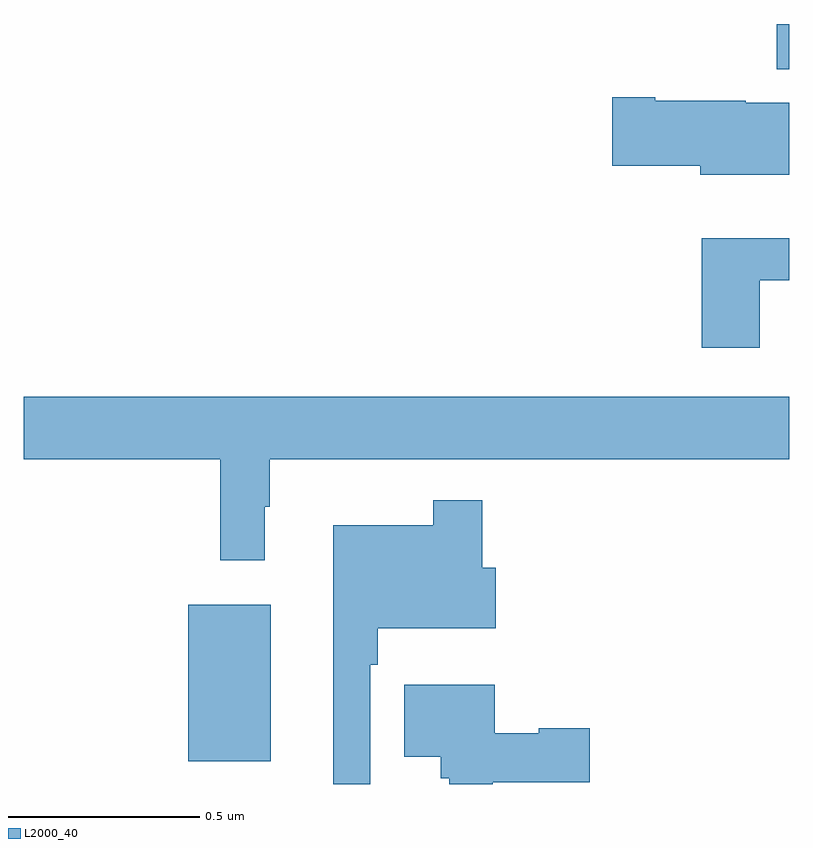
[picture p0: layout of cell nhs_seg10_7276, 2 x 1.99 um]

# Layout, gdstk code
import gdstk
lib = gdstk.Library(unit=1e-6, precision=1e-09)
def R(c, l, rs):  # rectangles x0, y0, x1, y1
    for r in rs: c.add(gdstk.rectangle(r[:2], r[2:], *l))
def P(c, l, *ps):  # polygons
    for p in ps: c.add(gdstk.Polygon(p, *l))
L2000_40 = (2000, 40)

nhs_seg10_7276 = lib.new_cell('nhs_seg10_7276')
R(nhs_seg10_7276, L2000_40, [(202.43,1267.559,202.645,1267.969), (203.968,1269.368,204,1269.486)])
P(nhs_seg10_7276, L2000_40, [(204,1269.28),(203.886,1269.28),(203.886,1269.286),(203.65,1269.286),(203.65,1269.294),(203.538,1269.294),(203.538,1269.116),(203.768,1269.116),(203.768,1269.092),(204,1269.092)],
  [(203.923,1268.817),(204,1268.817),(204,1268.926),(203.771,1268.926),(203.771,1268.64),(203.923,1268.64)],
  [(202.63,1268.225),(202.642,1268.225),(202.642,1268.348),(204,1268.348),(204,1268.512),(202,1268.512),(202,1268.348),(202.513,1268.348),(202.513,1268.085),(202.63,1268.085)],
  [(202.905,1267.811),(202.925,1267.811),(202.925,1267.907),(203.233,1267.907),(203.233,1268.065),(203.198,1268.065),(203.198,1268.242),(203.07,1268.242),(203.07,1268.176),(202.808,1268.176),(202.808,1267.5),(202.905,1267.5)],
  [(203.226,1267.504),(203.479,1267.504),(203.479,1267.646),(203.346,1267.646),(203.346,1267.633),(203.23,1267.633),(203.23,1267.759),(202.994,1267.759),(202.994,1267.571),(203.09,1267.571),(203.09,1267.515),(203.112,1267.515),(203.112,1267.5),(203.226,1267.5)])

lib.write_gds('nhs_seg10_7276.gds')
